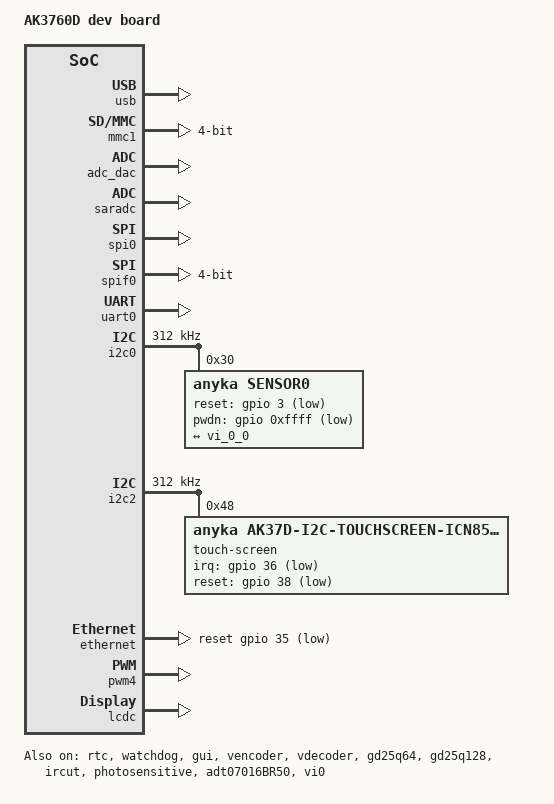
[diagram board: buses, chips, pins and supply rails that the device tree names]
/*
 * AK37D dev board dts
 *
 * Copyright (C) 2019 Anyka(Guangzhou) Microelectronics Technology Co., Ltd.
 *
 * Author: Zhipeng Zhang <zhangzhipeng@anyka.com>
 *
 * This program is free software; you can redistribute it and/or modify
 * it under the terms of the GNU General Public License as published by
 * the Free Software Foundation; either version 2 of the License, or
 * (at your option) any later version.
 *
 * This program is distributed in the hope that it will be useful,
 * but WITHOUT ANY WARRANTY; without even the implied warranty of
 * MERCHANTABILITY or FITNESS FOR A PARTICULAR PURPOSE.  See the
 * GNU General Public License for more details.
 */

/dts-v1/;
#include "anycloud_ak37d.dtsi"
#include "anycloud_ak37d_lcd.dtsi"
#include "anycloud_ak37d_norflash.dtsi"

/ {
    compatible = "anyka,ak37d";
    model = "AK3760D dev board";
	version = "V1.0.01";
};

&gpio {
    /* anyka,function sharepin func index according to table 2-1 sharepin-list */
    /* index: 0: PIN default func, 1: FUNCTION1, 2: FUNCTION2, 3: FUNCTION3, 4: FUNCTION4 */
    /* anyka,pull config value bit[31:24]--slew rate, bit[23:16]--ie, bit[15:8]--drive, bit[7:0]--pupd config */
    /* bit[31:24]--slew rate, 0: slow, 1: fast */
    /* bit[23:16]--ie, input enable, 0: disable, 1: enable */
    /* bit[15:8]--drive, drive strength, 4levels value: 0x0-0x3 */
    /* bit[7:0]--bit[7]: open drain 0:disable, 1:enable (only for gpio31/32);
				pupd config, bit[6:4] 1:enable/ 0:disable, bit[3:0] 0:select PU /1:select PD */

    ircut_pins: ircut_pins {
        anyka,pins = <34>;
        anyka,function = <0>;
        anyka,pull = <0x01010310>;
    };

    dvp0_12bits_pins: dvp0_12bits_pins {
        anyka,pins = <25 26 27 28 111 112 113 114 115 116 117 118 119 120 121 122>;
        anyka,function = <1>;
        anyka,pull = <0x01010310>;
    };

    dvp0_10bits_pins: dvp0_10bits_pins {
        anyka,pins = <25 26 27 28 111 112 113 114 115 116 117 118 119 120 121 122>;
        anyka,function = <1>;
        anyka,pull = <0x01010310>;
    };

    dvp0_8bits_pins: dvp0_8bits_pins {
        anyka,pins = <25 26 27 28 111 112 113 114 115 116 117 118 119 120 121 122>;
        anyka,function = <1>;
        anyka,pull = <0x01010310>;
    };

    mipi0_2lane_pins: mipi0_2lane_pins {
        anyka,pins = <25 111 112 113 114 115 116>;
        anyka,function = <1 2 2 2 2 2 2>;
        anyka,pull = <0x01010310>;
    };

    mipi0_1lane_pins: mipi0_1lane_pins {
        anyka,pins = <25 111 112 113 114>;
        anyka,function = <1 2 2 2 2>;
        anyka,pull = <0x01010310>;
    };

    mipi1_2lane_pins: mipi1_2lane_pins {
        anyka,pins = <26 117 118 119 120 121 122>;
        anyka,function = <1 2 2 2 2 2 2>;
        anyka,pull = <0x01010310>;
    };

    mipi1_1lane_pins: mipi1_1lane_pins {
        anyka,pins = <26 117 118 119 120>;
        anyka,function = <1 2 2 2 2>;
        anyka,pull = <0x01010310>;
    };

    csi0_sclk_pin: csi0_sclk_pin {
        anyka,pins = <25>;
        anyka,function = <1>;
        anyka,pull = <0x01010310>;
    };

    csi1_sclk_pin: csi1_sclk_pin {
        anyka,pins = <26>;
        anyka,function = <1>;
        anyka,pull = <0x01010310>;
    };

    i2c0_pins: i2c0_pins {
        anyka,pins = <31 32>;
        anyka,function = <1>;
        anyka,pull = <0x01010380>;
        //anyka,pull = <0x01011110>;
    };

	mci1_pins: mci1_pins {
        anyka,pins = <43 44 45 46 47 48>;
        anyka,function = <1>;
        anyka,pull = <0x10010 0x10000 0x10010 0x10010 0x10010 0x10010>;/* 4 line */

        /* 1 line */
        /*anyka,pins = <43 44 45>;*/
        /*anyka,function = <1>;*/
        /*anyka,pull = <0x10010 0x10000 0x10010>;*/  
    };
    

    spiflash_pins: spiflash_pins {
        anyka,pins = <12 67 68 69 70>; /* 4 LINE mode, 12 is spi nor cs*/
        anyka,function = <1 0 0 0 0>;
        anyka,pull = <0x01010010>;
    };

		/* gpio83 and gpio84  are used as i2c */
    lcd_pins: lcd_pins {
        anyka,pins = <74 71 72 73
        	          75 76 77 78
        	          79 80 81 82
        	          85 86
        	          87 88 89 90
        	          91 92 93 94
        	          95 96 97 98>;
        anyka,function = <1>;
        anyka,pull = <0x01010310>;
    };
    
    uart0_pins: uart0_pins {
        anyka,pins = <1 2>;
        anyka,function = <1>;
        anyka,pull = <0x01010010>;
    };

    uart1_pins: uart1_pins {
        anyka,pins = <36 37>;
        anyka,function = <2 3>;
        anyka,pull = <0x01010010>;
    };
    uart2_pins: uart2_pins {
        anyka,pins = <34 35>;
        anyka,function = <2>;
        anyka,pull = <0x01010010>;
    };
    uart3_pins: uart3_pins {
        anyka,pins = <4 5>;
        anyka,function = <2>;
        anyka,pull = <0x01010010>;
    }; 
    
    i2c2_pins: i2c2_pins {
        anyka,pins = <83 84>;
        anyka,function = <2>;
        anyka,pull = <0x01011110>;
    };

     pwm4_pins: pwm4_pins {
        anyka,pins = <41>;
        anyka,function = <2>;
        anyka,pull = <0x01011110>;
    };

    phy_reset_pins: phy_reset_pins {
          anyka,pins = <35>;
          anyka,function = <0>;
        anyka,pull = <0x01000010>;
    };

    gslX680_pins: gslX680_pins {
        anyka,pins = <78 79>;
        anyka,function = <0>;
        anyka,pull = <0x01000010>;
    };

    icn85xx_pins: icn85xx_pins {
		anyka,pins = <36 38>;
	    anyka,function = <0>;
        anyka,pull = <0x01000010>;
    };

    mmc_power_pins:mmc_power_pins{
        anyka,pins = <33>;
	    anyka,function = <0>;
        anyka,pull = <0x01000310>;
    };

    mmc_detect_pins:mmc_detect_pins{
        anyka,pins = <39>;
	    anyka,function = <0>;
        anyka,pull = <0x01000310>;
    };
        
    ethernet_pins_rmii: ethernet_pins_rmii {
		    anyka,pins 		= <10 11 13 14 15 19 20 23 24 49>;
        anyka,function 	= <1>;
        anyka,pull = <0x01010011 0x01010010 0x01010011 0x01010011 0x01010011 0x01010011 0x01010011 0x01010011 0x01010011 0x01010210>;
    };
};

&rtc {
	   /* 
	   ** rtc osc_source_select, 0 means INTERNAL RC OSC, 1 means EXTERNAL XTAL 
	   */
		osc-select = <0>;
    status = "okay";
};

&watchdog {
	/*max feed dog time = 357s, default setting time = 10s. */
    def_heartbeat = <10>;
    status = "okay";
};

&gui {
    status = "okay";
};

&vencoder {
    status = "okay";
};

&vdecoder {
    status = "okay";
};

&usb {
    status = "okay"; 
};


&mmc1 {
    bus-width = <0x4>;
    max-frequency = <50000000>;
    /*
     *  detect mode:
     *  (1) non-removable;
     *  (2) detect-gpio/detect-gpios: card detect using gpio
     *      for example:
     *      detect-gpio = <&gpio 77 1>;  or detect-gpios = <&gpio 77 1>;  
     *  (3) cd_clk: card detect using MCLK
     *  default is non-removable
     */
    detect-gpio = <&gpio 39 1>; 
    /* if support highspeed, using cap-sd-highspeed */
    cap-sd-highspeed;
    pinctrl-names = "default";
    pinctrl-0 = <&mci1_pins>,<&mmc_power_pins>,<&mmc_detect_pins>; 
    power-pins = <&gpio 33 1>;  
    /* initial power pin value*/
    power-pins-value = <1>;  
    status = "okay";
};

&adc_dac {
    status = "okay";

    dev0 {
        snd-dev = <SND_CARD_DAC_PLAYBACK>;
        snd-type = <AK_PCM_DEV_PLAYBACK>;
        snd-idx = <0>;
    };

    dev1 {
        snd-dev = <SND_CARD_ADC_CAPTURE>;
        snd-type = <AK_PCM_DEV_CAPTURE>;
        snd-idx = <0>;
    };

    dev2 {
        snd-dev = <SND_CARD_DAC_LOOPBACK>;
        snd-type = <AK_PCM_DEV_LOOPBACK>;
        snd-idx = <0>;
    };
};

&saradc{
    /* SAR ADC VREF selection
    * 0:To select AVCC 3.3V as VREF for SAR ADC.
    * 1:To select 3.0V generated from BGR as VREF for SAR ADC.
    */
    vref-select = <1>;
    /*
    * 0:To disable BAT voltage divider. 
    * 1:To enable BAT voltage divider divided by 2.
    */
    battery-divider = <1>;
    /*
    * Sampling number
    * Read the sampling data for N times and then calculate the average value.
    * N ranges from 1 to 7.
    */
     sampling-num = <3>;
     status = "okay";
};

&spi0 {
    pinctrl-names = "default";
    pinctrl-0 = <&spiflash_pins>;
    cs-gpios = <&gpio 12 1>;
    spi-bus-frequency = <80000000>;
    status = "okay";   

};

&spif0 {
	/* spi flash data bus width:
	** 1 means 1 wire mode.
	** 2 means 2 wire mode
	** 4 means 4 wire mode.
	** default: 4 wire mode.
	**/
	bus-width = <4>;
	status = "okay";
};


&gd25q64{
   	status = "okay";
};

&gd25q128{
   	status = "okay";
};

&uart0 {
    pinctrl-names = "default";
	pinctrl-0 = <&uart0_pins>;
    status = "okay";
};

&uart1 {
    pinctrl-names = "default";
	pinctrl-0 = <&uart1_pins>;
    status = "disable";
};

&uart2 {
    pinctrl-names = "default";
	pinctrl-0 = <&uart2_pins>;
    status = "disable";
};

&uart3 {
    pinctrl-names = "default";
	pinctrl-0 = <&uart3_pins>;
    status = "disable";
};

&i2c0 {
    pinctrl-names = "default";
    pinctrl-0 = <&i2c0_pins>;

    clock-frequency = <312000>;
    sda-delay = <100>;
    status = "okay";
	#address-cells = <1>;
	#size-cells = <0>;

	sensor0: camera@0x30{
		compatible = "anyka,sensor0";
		reg = <0x30>;

		/*0xffff means the gpio is invalid*/
		reset-gpio = <&gpio 3 1>;
		pwdn-gpio = <&gpio 0xffff 1>;

		port {
			sensor0_0: endpoint@0 {
				remote-endpoint = <&vi_0_0>;
			};
		};
	};
};

&i2c1 {
    pinctrl-names = "default";
    //pinctrl-0 = <&i2c1_pins>;
    
    clock-frequency = <312000>;
    sda-delay = <100>;
    status = "disable";
};

&i2c2 {
    pinctrl-names = "default";
    pinctrl-0 = <&i2c2_pins>;

    clock-frequency = <312000>;
    sda-delay = <100>;
    status = "okay";
    
    touch-screen@40 {
		    compatible = "anyka,ak37d-i2c-touchscreen-gslX680";
		    reg = <0x40>;
		    /* MIPI touch-pane irq and reset gpio setting */
		    pinctrl-names = "default";
            pinctrl-0 = <&gslX680_pins>;
            irq-gpio = <&gpio 78 1>;
            reset-gpio = <&gpio 79 1>;
            TP_MAX_X = <1280>;
            TP_MAX_Y = <800>;
            status = "disable";
	  };
		       
	  touch-screen@48 {
		   compatible = "anyka,ak37d-i2c-touchscreen-icn85xx";
		    reg = <0x48>;
		    /* RGB touch-pane irq and reset gpio setting */
            pinctrl-names = "default";
            pinctrl-0 = <&icn85xx_pins>;
            irq-gpio = <&gpio 36 1>;
            reset-gpio = <&gpio 38 1>;
            TP_MAX_X = <1024>;
            TP_MAX_Y = <600>;
            status = "okay";
	  }; 
};

&ethernet {
    pinctrl-names = "default";
    pinctrl-0 = <&ethernet_pins_rmii &phy_reset_pins>;
    reset-gpios = <&gpio 35 1>;
    status = "okay";
};

&ircut {
    pinctrl-names = "default";
    pinctrl-0 = <&ircut_pins>;

	ircut-a = "34";
	/*set the level for day mode. range: 0, 1*/
	ircut-a-day-level = "0";
	status = "okay";
};

&photosensitive {
    //pinctrl-names = "default";
    //pinctrl-0 = <&photosensitive_pins>;

	/*range: saradc~1, gpio number*/
	photosensitive-port = "saradc0";
	/*the level for day mode, range: low, high*/
	photosensitive-day-level = "high";
	status = "okay";
};

&leds {
	pinctrl-names = "default";
	//pinctrl-0 = <&led_pins>;
	//led-gpios = <&gpio 29 1
                 //&gpio 30 1>;
	status = "disable";
};

&adkeys {
	status = "disable";
};


&motor0 {
	status = "disable";
};

&motor1 {
	status = "disable";
};

&pwm0 {
	pinctrl-names = "default";

	//pinctrl-0 = <&pwm0_pins>;
	/*
	**frequency of PWM ranges from 92/256Hz(0.36Hz) to 6MHz.
	**duty of PWM ranges from 1 to 65535.
	**Minimum duty cycle:1/65536
	**Maximum duty cyscle:65535/65536.
	**period-ns: period of the PWM signal (in nanoseconds)
        **duty-ns: duty cycle of the PWM signal (in nanoseconds)
	**pwm-enable = 0 means disable pwm function.
	**pwm-enable = 1 means enable pwm function.
	*/
	period-ns = <1000000>;
	duty-ns = <500000>;
	pwm-enable = <1>;

	status = "disable";
};

&pwm1 {
	pinctrl-names = "default";

	//pinctrl-0 = <&pwm1_pins>;
	/*
	**frequency of PWM ranges from 92/256Hz(0.36Hz) to 6MHz.
	**duty of PWM ranges from 1 to 65535.
	**Minimum duty cycle:1/65536
	**Maximum duty cyscle:65535/65536.
	**period-ns: period of the PWM signal (in nanoseconds)
        **duty-ns: duty cycle of the PWM signal (in nanoseconds)
	**pwm-enable = 0 means disable pwm function.
	**pwm-enable = 1 means enable pwm function.
	*/
	period-ns = <1000000>;
	duty-ns = <500000>;
	pwm-enable = <1>;

	status = "disable";
};

&pwm2 {
	pinctrl-names = "default";

	//pinctrl-0 = <&pwm2_pins>;
	/*
	**frequency of PWM ranges from 92/256Hz(0.36Hz) to 6MHz.
	**duty of PWM ranges from 1 to 65535.
	**Minimum duty cycle:1/65536
	**Maximum duty cyscle:65535/65536.
	**period-ns: period of the PWM signal (in nanoseconds)
        **duty-ns: duty cycle of the PWM signal (in nanoseconds)
	**pwm-enable = 0 means disable pwm function.
	**pwm-enable = 1 means enable pwm function.
	*/
	period-ns = <1000000>;
	duty-ns = <500000>;
	pwm-enable = <1>;

	status = "disable";
};

&pwm3 {
	pinctrl-names = "default";

	//pinctrl-0 = <&pwm3_pins>;
	/*
	**frequency of PWM ranges from 92/256Hz(0.36Hz) to 6MHz.
	**duty of PWM ranges from 1 to 65535.
	**Minimum duty cycle:1/65536
	**Maximum duty cyscle:65535/65536.
	**period-ns: period of the PWM signal (in nanoseconds)
        **duty-ns: duty cycle of the PWM signal (in nanoseconds)
	**pwm-enable = 0 means disable pwm function.
	**pwm-enable = 1 means enable pwm function.
	*/
	period-ns = <1000000>;
	duty-ns = <500000>;
	pwm-enable = <1>;
	status = "disable";
};

&pwm4 {
	pinctrl-names = "default";
	pinctrl-0 = <&pwm4_pins>;
	/*
	**frequency of PWM ranges from 92/256Hz(0.36Hz) to 6MHz.
	**duty of PWM ranges from 1 to 65535.
	**Minimum duty cycle:1/65536
	**Maximum duty cyscle:65535/65536.
	**period-ns: period of the PWM signal (in nanoseconds)
        **duty-ns: duty cycle of the PWM signal (in nanoseconds)
	**pwm-enable = 0 means disable pwm function.
	**pwm-enable = 1 means enable pwm function.
	*/
	period-ns = <1000000>;
	duty-ns = <500000>;
	pwm-enable = <1>;
	status = "okay";
};

&lcdc {
    pinctrl-names = "default";
    pinctrl-0 = <&lcd_pins>; //<&lcd_pins>,<&lcd_reset_pins>; 
    reset-pins = <&gpio 42 1>;
    
    lcd-logo-width = <600>;
    lcd-logo-height = <165>;
    //[fmt1:fmt0] 00 16bits input(RGB565 or BGR565)
    //[fmt1:fmt0] 01 24bits input(RGB888 or BGR888)
    //[fmt1:fmt0] 10 or 11 32bits input(ARGB888 ABGR888 RGBA888 BGRA888)
    lcd-logo-fmt0 = <1>;
    lcd-logo-fmt1 = <0>;
    lcd-logo-rgb-seq = <1>; //0 for BGR, 1 for RGB
    
    lcd-fb-type = <1>; //0:single buffer; 1:double buffer
    status = "okay";
};

&sat070cp50 {
    status = "disable";
};

&adt07016BR50 {
    status = "okay";
};

&vi0{
	pinctrl-names = "dvp0_12bits", "dvp0_10bits", "dvp0_8bits",
		"mipi0_2lane", "mipi0_1lane", "mipi1_2lane", "mipi1_1lane",
		"csi0_sclk", "csi1_sclk";
    pinctrl-0 = <&dvp0_12bits_pins>;
    pinctrl-1 = <&dvp0_10bits_pins>;
    pinctrl-2 = <&dvp0_8bits_pins>;
    pinctrl-3 = <&mipi0_2lane_pins>;
    pinctrl-4 = <&mipi0_1lane_pins>;
    pinctrl-5 = <&mipi1_2lane_pins>;
    pinctrl-6 = <&mipi1_1lane_pins>;
    pinctrl-7 = <&csi0_sclk_pin>;
    pinctrl-8 = <&csi1_sclk_pin>;
    status = "okay";

	port@0 {
		#address-cells = <1>;
		#size-cells = <0>;

		vi_0_0: endpoint@0 {
			reg = <0>;
			remote-endpoint = <&sensor0_0>;
		};
	};
};
